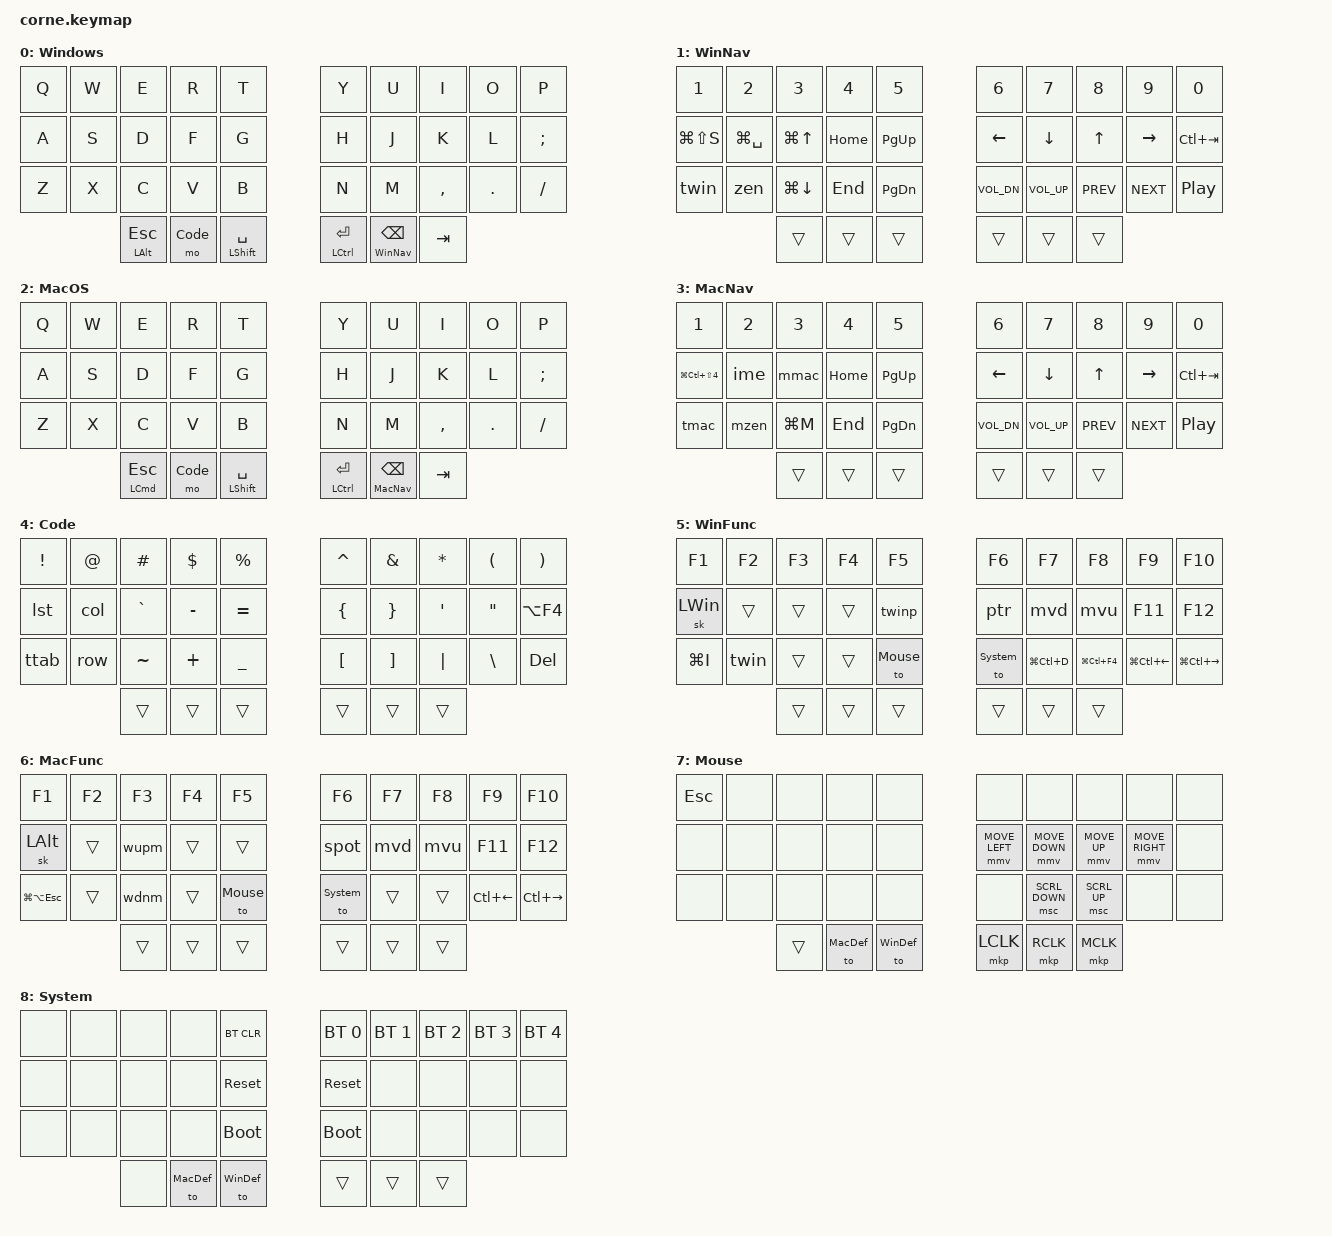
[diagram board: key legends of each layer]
/*
 * Copyright (c) 2020 The ZMK Contributors
 *
 * SPDX-License-Identifier: MIT
 */

#include <behaviors.dtsi>
#include <dt-bindings/zmk/bt.h>
#include <dt-bindings/zmk/keys.h>
#include <dt-bindings/zmk/pointing.h>

// Layers

#define WinDef  0
#define WinNav  1
#define MacDef  2
#define MacNav  3
#define Code    4
#define WinFunc 5
#define MacFunc 6
#define Mouse   7
#define System  8

#define MACRO_WAIT_MS 30
#define MACRO_TAP_MS  30

/ {
    chosen {
      zmk,matrix_transform = &five_column_transform;
      zmk,physical-layout = &foostan_corne_5col_layout;
    };


    macros {
        zen: zen_browser {
            compatible = "zmk,behavior-macro";
            #binding-cells = <0>;
            wait-ms = <MACRO_WAIT_MS>;
            tap-ms = <MACRO_TAP_MS>;
            bindings =
                <&macro_press>,
                <&kp LWIN>,
                <&kp LALT>,

                <&macro_tap>,
                <&kp SPACE>,

                <&macro_release>,
                <&kp LWIN>,
                <&kp LALT>,

                <&macro_pause_for_release>,
                <&macro_wait_time 200>,
                <&macro_tap>,
                <&kp Z>,
                <&kp E>,
                <&kp N>,
                <&kp ENTER>;
        };

        mzen: mac_zen_browser {
            compatible = "zmk,behavior-macro";
            #binding-cells = <0>;
            wait-ms = <MACRO_WAIT_MS>;
            tap-ms = <MACRO_TAP_MS>;
            bindings =
                <&macro_press>,
                <&kp LCMD>,

                <&macro_tap>,
                <&kp SPACE>,

                <&macro_release>,
                <&kp LWIN>,

                <&macro_pause_for_release>,
                <&macro_wait_time 200>,
                <&macro_tap>,
                <&kp Z>,
                <&kp E>,
                <&kp N>,
                <&kp ENTER>;
        };
        
        ime: chinese_ime {
            compatible = "zmk,behavior-macro";
            #binding-cells = <0>;
            wait-ms = <MACRO_WAIT_MS>;
            tap-ms = <MACRO_TAP_MS>;
            bindings =
                <&macro_press>,
                <&kp LCTRL>,
                
                <&macro_tap>,
                <&kp SPACE>,
                
                <&macro_release>,
                <&kp LCTRL>;
        };


        twin: terminal_windows {
            compatible = "zmk,behavior-macro";
            #binding-cells = <0>;
            wait-ms = <MACRO_WAIT_MS>;
            tap-ms = <MACRO_TAP_MS>;
            bindings =
                <&macro_press>,
                <&kp LCTRL>,
                <&kp LWIN>,

                <&macro_tap>,
                <&kp T>,

                <&macro_release>,
                <&kp LCTRL>,
                <&kp LWIN>,

                <&macro_wait_time 100>,
                <&macro_tap>,
                <&kp D>,
                <&kp ENTER>;
        };

        twinp: terminal_windows_powershell {
            compatible = "zmk,behavior-macro";
            #binding-cells = <0>;
            wait-ms = <MACRO_WAIT_MS>;
            tap-ms = <MACRO_TAP_MS>;
            bindings =
                <&macro_press>,
                <&kp LCTRL>,
                <&kp LWIN>,

                <&macro_tap>,
                <&kp T>,

                <&macro_release>,
                <&kp LCTRL>,
                <&kp LWIN>,

                <&macro_wait_time 100>,
                <&macro_tap>,
                <&kp P>,
                <&kp ENTER>;
        };


        ptr: powertoy_run {
            compatible = "zmk,behavior-macro";
            #binding-cells = <0>;
            wait-ms = <MACRO_WAIT_MS>;
            tap-ms = <MACRO_TAP_MS>;
            bindings =
                <&macro_press>,
                <&kp LWIN>,
                <&kp LALT>,

                <&macro_tap>,
                <&kp SPACE>,

                <&macro_release>,
                <&kp LWIN>,
                <&kp LALT>;
        };

        tmac: terminal_macos {
            compatible = "zmk,behavior-macro";
            #binding-cells = <0>;
            wait-ms = <MACRO_WAIT_MS>;
            tap-ms = <MACRO_TAP_MS>;
            bindings =
                <&macro_press>,
                <&kp LCMD>,

                <&macro_tap>,
                <&kp SPACE>,

                <&macro_release>,
                <&kp LCMD>,

                <&macro_pause_for_release>,
                <&macro_wait_time 150>,
                <&macro_tap>,
                <&kp G>,
                <&kp H>,
                <&kp ENTER>;
        };

        mmac: windowmax_mac {
            compatible = "zmk,behavior-macro";
            #binding-cells = <0>;
            wait-ms = <MACRO_WAIT_MS>;
            tap-ms = <MACRO_TAP_MS>;
            bindings =
                <&macro_press>,
                <&kp LG(LCTRL)>,
                <&macro_tap>,
                <&kp F>,
                <&macro_release>,
                <&kp LG(LCTRL)>;
        };

        recm: screenrecord_mac {
            compatible = "zmk,behavior-macro";
            #binding-cells = <0>;
            wait-ms = <MACRO_WAIT_MS>;
            tap-ms = <MACRO_TAP_MS>;
            bindings =
                <&macro_press>,
                <&kp LG(LSHFT)>,
                <&macro_tap>,
                <&kp N5>,
                <&macro_release>,
                <&kp LG(LSHFT)>;
        };

        wupm: windowup_mac {
            compatible = "zmk,behavior-macro";
            #binding-cells = <0>;
            wait-ms = <MACRO_WAIT_MS>;
            tap-ms = <MACRO_TAP_MS>;
            bindings =
                <&macro_press>,
                <&kp GLOBE>,
                <&kp LCTRL>,

                <&macro_tap>,
                <&kp F>,

                <&macro_release>,
                <&kp GLOBE>,
                <&kp LCTRL>;
        };

        wdnm: windowdown_mac {
            compatible = "zmk,behavior-macro";
            #binding-cells = <0>;
            wait-ms = <MACRO_WAIT_MS>;
            tap-ms = <MACRO_TAP_MS>;
            bindings =
                <&macro_press>,
                <&kp GLOBE>,
                <&kp LCTRL>,

                <&macro_tap>,
                <&kp C>,

                <&macro_release>,
                <&kp GLOBE>,
                <&kp LCTRL>;
        };

        spot: spotlight {
            compatible = "zmk,behavior-macro";
            #binding-cells = <0>;
            wait-ms = <MACRO_WAIT_MS>;
            tap-ms = <MACRO_TAP_MS>;
            bindings =
                <&macro_press>,
                <&kp LCMD>,
                <&macro_tap>,
                <&kp SPACE>,
                <&macro_release>,
                <&kp LCMD>;
        };

        mvu: move_up {
            compatible = "zmk,behavior-macro";
            #binding-cells = <0>;
            wait-ms = <MACRO_WAIT_MS>;
            tap-ms = <MACRO_TAP_MS>;
            bindings =
                <&macro_press>,
                <&kp LALT>,
                <&macro_tap>,
                <&kp K>,
                <&macro_release>,
                <&kp LALT>;
        };

        mvd: move_down {
            compatible = "zmk,behavior-macro";
            #binding-cells = <0>;
            wait-ms = <MACRO_WAIT_MS>;
            tap-ms = <MACRO_TAP_MS>;
            bindings =
                <&macro_press>,
                <&kp LALT>,
                <&macro_tap>,
                <&kp J>,
                <&macro_release>,
                <&kp LALT>;
        };

        col: tmux_column {
            compatible = "zmk,behavior-macro";
            #binding-cells = <0>;
            wait-ms = <MACRO_WAIT_MS>;
            tap-ms = <MACRO_TAP_MS>;
            bindings = 
                <&macro_tap>,
                <&kp LC(A)>,
                <&kp PIPE>;
        };

        row: tmux_row {
            compatible = "zmk,behavior-macro";
            #binding-cells = <0>;
            wait-ms = <MACRO_WAIT_MS>;
            tap-ms = <MACRO_TAP_MS>;
            bindings = 
                <&macro_tap>,
                <&kp LC(A)>,
                <&kp MINUS>;
        };

        lst: tmux_list {
            compatible = "zmk,behavior-macro";
            #binding-cells = <0>;
            wait-ms = <MACRO_WAIT_MS>;
            tap-ms = <MACRO_TAP_MS>;
            bindings = 
                <&macro_tap>,
                <&kp LC(A)>,
                <&kp W>;
        };

        ttab: tmux_create {
            compatible = "zmk,behavior-macro";
            #binding-cells = <0>;
            wait-ms = <MACRO_WAIT_MS>;
            tap-ms = <MACRO_TAP_MS>;
            bindings = 
                <&macro_tap>,
                <&kp LC(A)>,
                <&kp C>;
        };
    };

    combos {
        compatible = "zmk,combos";

        combo_control {
            bindings = <&kp LCTRL>;
            key-positions = <20 21>;
            layers = <0 2>;
            timeout-ms = <80>;
            require-prior-idle-ms = <150>;
        };

        combo_esc {
            bindings = <&kp ESC>;
            key-positions = <0 1>;
            layers = <0 2>;
            timeout-ms = <35>;
            require-prior-idle-ms = <150>;
        };

        combo_tab {
            bindings = <&kp TAB>;
            key-positions = <8 9>;
            layers = <0 2>;
            timeout-ms = <35>;
            require-prior-idle-ms = <150>;
        };        
    };

    behaviors {
        tm: thumb_mods {
            compatible = "zmk,behavior-hold-tap";
            #binding-cells = <2>;
            tapping-term-ms = <180>;
            quick-tap-ms = <150>;
            flavor = "balanced";
            bindings = <&kp>, <&kp>;
        };
 
        lh: layer_hold {
            compatible = "zmk,behavior-hold-tap";
            #binding-cells = <2>;
            tapping-term-ms = <180>;
            quick-tap-ms = <150>;
            flavor = "balanced";
            bindings = <&mo>, <&kp>;
        };       
    };

    keymap {
        compatible = "zmk,keymap";

        WinDef {
            display-name = "Windows";
            bindings = <
                &kp Q  &kp W  &kp E         &kp R     &kp T              &kp Y          &kp U            &kp I      &kp O    &kp P
                &kp A  &kp S  &kp D         &kp F     &kp G              &kp H          &kp J            &kp K      &kp L    &kp SEMI
                &kp Z  &kp X  &kp C         &kp V     &kp B              &kp N          &kp M            &kp COMMA  &kp DOT  &kp FSLH
                              &tm LALT ESC  &mo Code  &tm LSHFT SPACE    &tm LCTRL RET  &lh WinNav BSPC  &kp TAB
            >;
        };

        WinNav {
            display-name = "WinNav";
            bindings = <
                &kp N1         &kp N2         &kp N3        &kp N4    &kp N5       &kp N6        &kp N7        &kp N8      &kp N9      &kp N0
                &kp LG(LS(S))  &kp LG(SPACE)  &kp LG(UP)    &kp HOME  &kp PG_UP    &kp LEFT      &kp DOWN      &kp UP      &kp RIGHT   &kp LC(TAB)
                &twin          &zen           &kp LG(DOWN)  &kp END   &kp PG_DN    &kp C_VOL_DN  &kp C_VOL_UP  &kp C_PREV  &kp C_NEXT  &kp C_PLAY_PAUSE
                                              &trans        &trans    &trans       &trans        &trans        &trans
            >;
        };

        MacDef {
            display-name = "MacOS";
            bindings = <
                &kp Q  &kp W  &kp E         &kp R     &kp T              &kp Y          &kp U            &kp I      &kp O    &kp P
                &kp A  &kp S  &kp D         &kp F     &kp G              &kp H          &kp J            &kp K      &kp L    &kp SEMI
                &kp Z  &kp X  &kp C         &kp V     &kp B              &kp N          &kp M            &kp COMMA  &kp DOT  &kp FSLH
                              &tm LCMD ESC  &mo Code  &tm LSHFT SPACE    &tm LCTRL RET  &lh MacNav BSPC  &kp TAB
            >;
        };

        MacNav {
            display-name = "MacNav";
            bindings = <
                &kp N1              &kp N2  &kp N3     &kp N4    &kp N5       &kp N6        &kp N7        &kp N8      &kp N9      &kp N0
                &kp LG(LC(LS(N4)))  &ime    &mmac      &kp HOME  &kp PG_UP    &kp LEFT      &kp DOWN      &kp UP      &kp RIGHT   &kp LC(TAB)
                &tmac               &mzen   &kp LG(M)  &kp END   &kp PG_DN    &kp C_VOL_DN  &kp C_VOL_UP  &kp C_PREV  &kp C_NEXT  &kp C_PLAY_PAUSE
                                            &trans     &trans    &trans       &trans        &trans        &trans
            >;
        };

        Code {
            display-name = "Code";
            bindings = <
                &kp EXCL  &kp AT  &kp HASH   &kp DLLR   &kp PRCNT    &kp CARET  &kp AMPS  &kp STAR  &kp LPAR  &kp RPAR
                &lst      &col    &kp GRAVE  &kp MINUS  &kp EQUAL    &kp LBRC   &kp RBRC  &kp SQT   &kp DQT   &kp LA(F4)
                &ttab     &row    &kp TILDE  &kp PLUS   &kp UNDER    &kp LBKT   &kp RBKT  &kp PIPE  &kp BSLH  &kp DEL
                                  &trans     &trans     &trans       &trans     &trans    &trans
            >;
        };

        WinFunc {
            display-name = "WinFunc";
            bindings = <
                &kp F1     &kp F2  &kp F3  &kp F4  &kp F5       &kp F6      &kp F7         &kp F8          &kp F9            &kp F10
                &sk LWIN   &trans  &trans  &trans  &twinp       &ptr        &mvd           &mvu            &kp F11           &kp F12
                &kp LG(I)  &twin   &trans  &trans  &to Mouse    &to System  &kp LG(LC(D))  &kp LG(LC(F4))  &kp LG(LC(LEFT))  &kp LG(LC(RIGHT))
                                   &trans  &trans  &trans       &trans      &trans         &trans
            >;
        };

        MacFunc {
            display-name = "MacFunc";
            bindings = <
                &kp F1           &kp F2  &kp F3  &kp F4  &kp F5     &kp F6      &kp F7  &kp F8  &kp F9        &kp F10
                &sk LALT         &trans  &wupm   &trans  &trans     &spot       &mvd    &mvu    &kp F11       &kp F12
                &kp LG(LA(ESC))  &trans  &wdnm   &trans  &to Mouse  &to System  &trans  &trans  &kp LC(LEFT)  &kp LC(RIGHT)
                                         &trans  &trans  &trans     &trans      &trans  &trans
            >;
        };

        Mouse {
            display-name = "Mouse";
            bindings = <
                &kp ESC  &none  &none   &none       &none         &none           &none           &none         &none            &none
                &none    &none  &none   &none       &none         &mmv MOVE_LEFT  &mmv MOVE_DOWN  &mmv MOVE_UP  &mmv MOVE_RIGHT  &none
                &none    &none  &none   &none       &none         &none           &msc SCRL_DOWN  &msc SCRL_UP  &none            &none
                                &trans  &to MacDef  &to WinDef    &mkp LCLK       &mkp RCLK       &mkp MCLK
            >;
        };

        System {
            display-name = "System";
            bindings = <
                &none  &none  &none  &none       &bt BT_CLR     &bt BT_SEL 0  &bt BT_SEL 1  &bt BT_SEL 2  &bt BT_SEL 3  &bt BT_SEL 4
                &none  &none  &none  &none       &sys_reset     &sys_reset    &none         &none         &none         &none
                &none  &none  &none  &none       &bootloader    &bootloader   &none         &none         &none         &none
                              &none  &to MacDef  &to WinDef     &trans        &trans        &trans
            >;
        };
    };

    conditional_layers {
        compatible = "zmk,conditional-layers";

        win_function {
            if-layers = <1 4>;
            then-layer = <5>;
        };

        mac_function {
            if-layers = <3 4>;
            then-layer = <6>;
        };
    };
};
